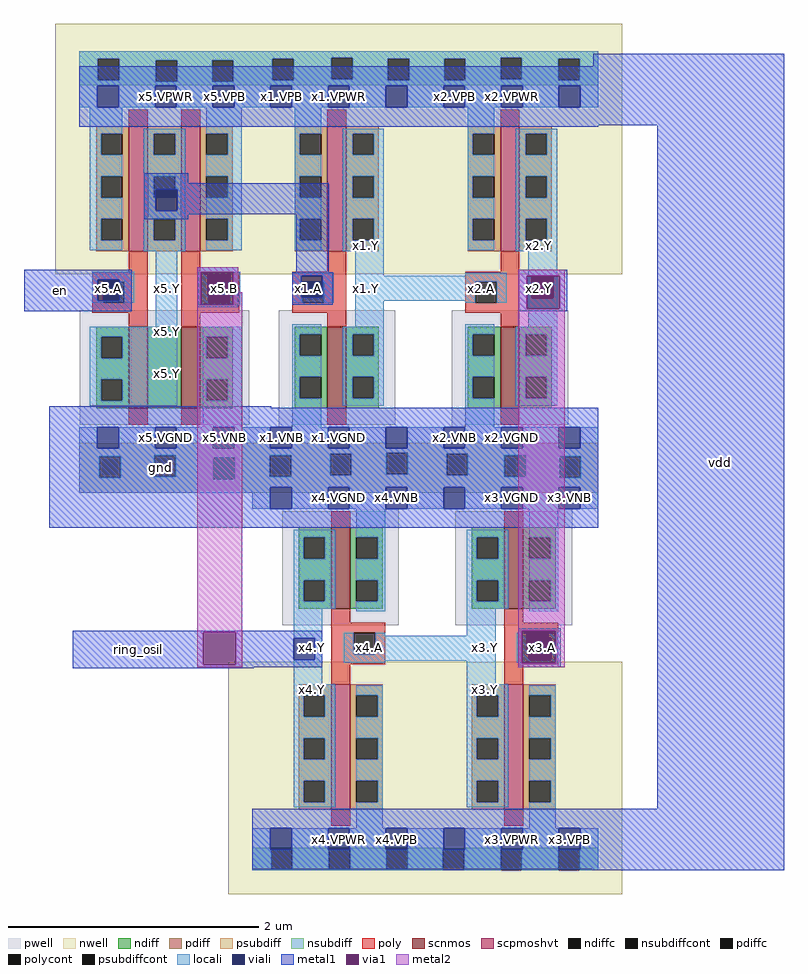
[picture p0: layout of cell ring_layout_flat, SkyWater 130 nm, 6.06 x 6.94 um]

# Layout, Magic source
magic
tech sky130A
magscale 1 2
<< nwell >>
rect 116 1595 1020 1994
rect 392 606 1020 977
<< pwell >>
rect 155 1355 425 1537
rect 472 1355 658 1537
rect 748 1355 934 1537
rect 368 1317 402 1355
rect 472 1351 493 1355
rect 748 1351 769 1355
rect 459 1317 493 1351
rect 735 1317 769 1351
rect 643 1221 677 1255
rect 919 1221 953 1255
rect 643 1217 664 1221
rect 919 1217 940 1221
rect 478 1035 664 1217
rect 754 1035 940 1217
<< scnmos >>
rect 233 1381 263 1511
rect 317 1381 347 1511
rect 550 1381 580 1511
rect 826 1381 856 1511
rect 556 1061 586 1191
rect 832 1061 862 1191
<< scpmoshvt >>
rect 233 1631 263 1831
rect 317 1631 347 1831
rect 550 1631 580 1831
rect 826 1631 856 1831
rect 556 741 586 941
rect 832 741 862 941
<< ndiff >>
rect 181 1495 233 1511
rect 181 1461 189 1495
rect 223 1461 233 1495
rect 181 1427 233 1461
rect 181 1393 189 1427
rect 223 1393 233 1427
rect 181 1381 233 1393
rect 263 1381 317 1511
rect 347 1495 399 1511
rect 347 1461 357 1495
rect 391 1461 399 1495
rect 347 1427 399 1461
rect 347 1393 357 1427
rect 391 1393 399 1427
rect 347 1381 399 1393
rect 498 1499 550 1511
rect 498 1465 506 1499
rect 540 1465 550 1499
rect 498 1431 550 1465
rect 498 1397 506 1431
rect 540 1397 550 1431
rect 498 1381 550 1397
rect 580 1499 632 1511
rect 580 1465 590 1499
rect 624 1465 632 1499
rect 580 1431 632 1465
rect 580 1397 590 1431
rect 624 1397 632 1431
rect 580 1381 632 1397
rect 774 1499 826 1511
rect 774 1465 782 1499
rect 816 1465 826 1499
rect 774 1431 826 1465
rect 774 1397 782 1431
rect 816 1397 826 1431
rect 774 1381 826 1397
rect 856 1499 908 1511
rect 856 1465 866 1499
rect 900 1465 908 1499
rect 856 1431 908 1465
rect 856 1397 866 1431
rect 900 1397 908 1431
rect 856 1381 908 1397
rect 504 1175 556 1191
rect 504 1141 512 1175
rect 546 1141 556 1175
rect 504 1107 556 1141
rect 504 1073 512 1107
rect 546 1073 556 1107
rect 504 1061 556 1073
rect 586 1175 638 1191
rect 586 1141 596 1175
rect 630 1141 638 1175
rect 586 1107 638 1141
rect 586 1073 596 1107
rect 630 1073 638 1107
rect 586 1061 638 1073
rect 780 1175 832 1191
rect 780 1141 788 1175
rect 822 1141 832 1175
rect 780 1107 832 1141
rect 780 1073 788 1107
rect 822 1073 832 1107
rect 780 1061 832 1073
rect 862 1175 914 1191
rect 862 1141 872 1175
rect 906 1141 914 1175
rect 862 1107 914 1141
rect 862 1073 872 1107
rect 906 1073 914 1107
rect 862 1061 914 1073
<< pdiff >>
rect 181 1819 233 1831
rect 181 1785 189 1819
rect 223 1785 233 1819
rect 181 1751 233 1785
rect 181 1717 189 1751
rect 223 1717 233 1751
rect 181 1683 233 1717
rect 181 1649 189 1683
rect 223 1649 233 1683
rect 181 1631 233 1649
rect 263 1819 317 1831
rect 263 1785 273 1819
rect 307 1785 317 1819
rect 263 1751 317 1785
rect 263 1717 273 1751
rect 307 1717 317 1751
rect 263 1683 317 1717
rect 263 1649 273 1683
rect 307 1649 317 1683
rect 263 1631 317 1649
rect 347 1819 399 1831
rect 347 1785 357 1819
rect 391 1785 399 1819
rect 347 1751 399 1785
rect 347 1717 357 1751
rect 391 1717 399 1751
rect 347 1683 399 1717
rect 347 1649 357 1683
rect 391 1649 399 1683
rect 347 1631 399 1649
rect 498 1819 550 1831
rect 498 1785 506 1819
rect 540 1785 550 1819
rect 498 1751 550 1785
rect 498 1717 506 1751
rect 540 1717 550 1751
rect 498 1683 550 1717
rect 498 1649 506 1683
rect 540 1649 550 1683
rect 498 1631 550 1649
rect 580 1819 632 1831
rect 580 1785 590 1819
rect 624 1785 632 1819
rect 580 1751 632 1785
rect 580 1717 590 1751
rect 624 1717 632 1751
rect 580 1683 632 1717
rect 580 1649 590 1683
rect 624 1649 632 1683
rect 580 1631 632 1649
rect 774 1819 826 1831
rect 774 1785 782 1819
rect 816 1785 826 1819
rect 774 1751 826 1785
rect 774 1717 782 1751
rect 816 1717 826 1751
rect 774 1683 826 1717
rect 774 1649 782 1683
rect 816 1649 826 1683
rect 774 1631 826 1649
rect 856 1819 908 1831
rect 856 1785 866 1819
rect 900 1785 908 1819
rect 856 1751 908 1785
rect 856 1717 866 1751
rect 900 1717 908 1751
rect 856 1683 908 1717
rect 856 1649 866 1683
rect 900 1649 908 1683
rect 856 1631 908 1649
rect 504 923 556 941
rect 504 889 512 923
rect 546 889 556 923
rect 504 855 556 889
rect 504 821 512 855
rect 546 821 556 855
rect 504 787 556 821
rect 504 753 512 787
rect 546 753 556 787
rect 504 741 556 753
rect 586 923 638 941
rect 586 889 596 923
rect 630 889 638 923
rect 586 855 638 889
rect 586 821 596 855
rect 630 821 638 855
rect 586 787 638 821
rect 586 753 596 787
rect 630 753 638 787
rect 586 741 638 753
rect 780 923 832 941
rect 780 889 788 923
rect 822 889 832 923
rect 780 855 832 889
rect 780 821 788 855
rect 822 821 832 855
rect 780 787 832 821
rect 780 753 788 787
rect 822 753 832 787
rect 780 741 832 753
rect 862 923 914 941
rect 862 889 872 923
rect 906 889 914 923
rect 862 855 914 889
rect 862 821 872 855
rect 906 821 914 855
rect 862 787 914 821
rect 862 753 872 787
rect 906 753 914 787
rect 862 741 914 753
<< ndiffc >>
rect 189 1461 223 1495
rect 189 1393 223 1427
rect 357 1461 391 1495
rect 357 1393 391 1427
rect 506 1465 540 1499
rect 506 1397 540 1431
rect 590 1465 624 1499
rect 590 1397 624 1431
rect 782 1465 816 1499
rect 782 1397 816 1431
rect 866 1465 900 1499
rect 866 1397 900 1431
rect 512 1141 546 1175
rect 512 1073 546 1107
rect 596 1141 630 1175
rect 596 1073 630 1107
rect 788 1141 822 1175
rect 788 1073 822 1107
rect 872 1141 906 1175
rect 872 1073 906 1107
<< pdiffc >>
rect 189 1785 223 1819
rect 189 1717 223 1751
rect 189 1649 223 1683
rect 273 1785 307 1819
rect 273 1717 307 1751
rect 273 1649 307 1683
rect 357 1785 391 1819
rect 357 1717 391 1751
rect 357 1649 391 1683
rect 506 1785 540 1819
rect 506 1717 540 1751
rect 506 1649 540 1683
rect 590 1785 624 1819
rect 590 1717 624 1751
rect 590 1649 624 1683
rect 782 1785 816 1819
rect 782 1717 816 1751
rect 782 1649 816 1683
rect 866 1785 900 1819
rect 866 1717 900 1751
rect 866 1649 900 1683
rect 512 889 546 923
rect 512 821 546 855
rect 512 753 546 787
rect 596 889 630 923
rect 596 821 630 855
rect 596 753 630 787
rect 788 889 822 923
rect 788 821 822 855
rect 788 753 822 787
rect 872 889 906 923
rect 872 821 906 855
rect 872 753 906 787
<< psubdiff >>
rect 154 1310 982 1326
rect 154 1308 644 1310
rect 154 1306 554 1308
rect 154 1304 274 1306
rect 154 1270 186 1304
rect 220 1272 274 1304
rect 308 1302 458 1306
rect 308 1272 368 1302
rect 220 1270 368 1272
rect 154 1268 368 1270
rect 402 1272 458 1302
rect 492 1274 554 1306
rect 588 1276 644 1308
rect 678 1308 982 1310
rect 678 1276 740 1308
rect 588 1274 740 1276
rect 774 1306 982 1308
rect 774 1274 832 1306
rect 492 1272 832 1274
rect 866 1304 982 1306
rect 866 1272 920 1304
rect 402 1270 920 1272
rect 954 1270 982 1304
rect 402 1268 982 1270
rect 154 1246 982 1268
<< nsubdiff >>
rect 154 1940 982 1950
rect 154 1938 556 1940
rect 154 1904 184 1938
rect 218 1936 462 1938
rect 218 1904 276 1936
rect 154 1902 276 1904
rect 310 1902 366 1936
rect 400 1904 462 1936
rect 496 1906 556 1938
rect 590 1938 826 1940
rect 590 1906 646 1938
rect 496 1904 646 1906
rect 680 1904 736 1938
rect 770 1906 826 1938
rect 860 1938 982 1940
rect 860 1906 918 1938
rect 770 1904 918 1906
rect 952 1904 982 1938
rect 400 1902 982 1904
rect 154 1896 982 1902
rect 430 646 460 680
rect 494 646 552 680
rect 586 646 644 680
rect 678 678 982 680
rect 678 646 734 678
rect 430 644 734 646
rect 768 644 826 678
rect 860 644 918 678
rect 952 644 982 678
<< psubdiffcont >>
rect 186 1270 220 1304
rect 274 1272 308 1306
rect 368 1268 402 1302
rect 458 1272 492 1306
rect 554 1274 588 1308
rect 644 1276 678 1310
rect 740 1274 774 1308
rect 832 1272 866 1306
rect 920 1270 954 1304
<< nsubdiffcont >>
rect 184 1904 218 1938
rect 276 1902 310 1936
rect 366 1902 400 1936
rect 462 1904 496 1938
rect 556 1906 590 1940
rect 646 1904 680 1938
rect 736 1904 770 1938
rect 826 1906 860 1940
rect 918 1904 952 1938
rect 460 646 494 680
rect 552 646 586 680
rect 644 646 678 680
rect 734 644 768 678
rect 826 644 860 678
rect 918 644 952 678
<< poly >>
rect 233 1831 263 1857
rect 317 1831 347 1857
rect 550 1831 580 1857
rect 826 1831 856 1857
rect 233 1599 263 1631
rect 175 1583 263 1599
rect 175 1549 192 1583
rect 226 1549 263 1583
rect 175 1533 263 1549
rect 233 1511 263 1533
rect 317 1599 347 1631
rect 550 1599 580 1631
rect 826 1599 856 1631
rect 317 1583 409 1599
rect 317 1549 360 1583
rect 394 1549 409 1583
rect 317 1533 409 1549
rect 494 1583 580 1599
rect 494 1549 510 1583
rect 544 1549 580 1583
rect 494 1533 580 1549
rect 770 1583 856 1599
rect 770 1549 786 1583
rect 820 1549 856 1583
rect 770 1533 856 1549
rect 317 1511 347 1533
rect 550 1511 580 1533
rect 826 1511 856 1533
rect 233 1355 263 1381
rect 317 1355 347 1381
rect 550 1355 580 1381
rect 826 1355 856 1381
rect 556 1191 586 1217
rect 832 1191 862 1217
rect 556 1039 586 1061
rect 832 1039 862 1061
rect 556 1023 642 1039
rect 556 989 592 1023
rect 626 989 642 1023
rect 556 973 642 989
rect 832 1023 918 1039
rect 832 989 868 1023
rect 902 989 918 1023
rect 832 973 918 989
rect 556 941 586 973
rect 832 941 862 973
rect 556 715 586 741
rect 832 715 862 741
<< polycont >>
rect 192 1549 226 1583
rect 360 1549 394 1583
rect 510 1549 544 1583
rect 786 1549 820 1583
rect 592 989 626 1023
rect 868 989 902 1023
<< locali >>
rect 154 1940 982 1950
rect 154 1938 556 1940
rect 154 1904 184 1938
rect 218 1936 462 1938
rect 218 1904 276 1936
rect 154 1902 276 1904
rect 310 1902 366 1936
rect 400 1904 462 1936
rect 496 1906 556 1938
rect 590 1938 826 1940
rect 590 1906 646 1938
rect 496 1904 646 1906
rect 680 1904 736 1938
rect 770 1906 826 1938
rect 860 1938 982 1940
rect 860 1906 918 1938
rect 770 1904 918 1906
rect 952 1904 982 1938
rect 400 1902 982 1904
rect 154 1895 982 1902
rect 154 1861 183 1895
rect 217 1861 275 1895
rect 309 1861 367 1895
rect 401 1861 459 1895
rect 493 1861 551 1895
rect 585 1861 643 1895
rect 677 1861 735 1895
rect 769 1861 827 1895
rect 861 1861 919 1895
rect 953 1861 982 1895
rect 171 1819 223 1861
rect 171 1785 189 1819
rect 171 1751 223 1785
rect 171 1717 189 1751
rect 171 1683 223 1717
rect 171 1649 189 1683
rect 171 1633 223 1649
rect 257 1819 323 1827
rect 257 1785 273 1819
rect 307 1785 323 1819
rect 257 1751 323 1785
rect 257 1717 273 1751
rect 307 1730 323 1751
rect 257 1696 276 1717
rect 310 1696 323 1730
rect 257 1683 323 1696
rect 257 1649 273 1683
rect 307 1649 323 1683
rect 257 1631 323 1649
rect 357 1819 413 1861
rect 391 1785 413 1819
rect 357 1751 413 1785
rect 391 1717 413 1751
rect 357 1683 413 1717
rect 391 1649 413 1683
rect 357 1633 413 1649
rect 498 1819 540 1861
rect 498 1785 506 1819
rect 498 1751 540 1785
rect 498 1717 506 1751
rect 498 1683 540 1717
rect 498 1649 506 1683
rect 498 1633 540 1649
rect 574 1819 640 1827
rect 574 1785 590 1819
rect 624 1785 640 1819
rect 574 1751 640 1785
rect 574 1717 590 1751
rect 624 1717 640 1751
rect 574 1683 640 1717
rect 574 1649 590 1683
rect 624 1649 640 1683
rect 574 1631 640 1649
rect 774 1819 816 1861
rect 774 1785 782 1819
rect 774 1751 816 1785
rect 774 1717 782 1751
rect 774 1683 816 1717
rect 774 1649 782 1683
rect 774 1633 816 1649
rect 850 1819 916 1827
rect 850 1785 866 1819
rect 900 1785 916 1819
rect 850 1751 916 1785
rect 850 1717 866 1751
rect 900 1717 916 1751
rect 850 1683 916 1717
rect 850 1649 866 1683
rect 900 1649 916 1683
rect 850 1631 916 1649
rect 175 1586 242 1599
rect 175 1552 184 1586
rect 218 1583 242 1586
rect 175 1549 192 1552
rect 226 1549 242 1583
rect 276 1511 310 1631
rect 344 1594 411 1599
rect 344 1549 360 1594
rect 394 1549 411 1594
rect 494 1592 560 1597
rect 494 1558 508 1592
rect 542 1583 560 1592
rect 494 1549 510 1558
rect 544 1549 560 1583
rect 594 1592 640 1631
rect 770 1592 836 1597
rect 594 1583 836 1592
rect 594 1552 786 1583
rect 344 1545 411 1549
rect 171 1495 310 1511
rect 171 1461 189 1495
rect 223 1461 310 1495
rect 171 1427 310 1461
rect 171 1393 189 1427
rect 223 1393 310 1427
rect 171 1385 310 1393
rect 351 1495 413 1511
rect 351 1461 357 1495
rect 391 1461 413 1495
rect 351 1427 413 1461
rect 351 1393 357 1427
rect 391 1393 413 1427
rect 351 1351 413 1393
rect 494 1499 540 1515
rect 594 1511 640 1552
rect 770 1549 786 1552
rect 820 1549 836 1583
rect 870 1590 916 1631
rect 870 1556 876 1590
rect 910 1556 916 1590
rect 494 1465 506 1499
rect 494 1431 540 1465
rect 494 1397 506 1431
rect 494 1351 540 1397
rect 574 1499 640 1511
rect 574 1465 590 1499
rect 624 1465 640 1499
rect 574 1431 640 1465
rect 574 1397 590 1431
rect 624 1397 640 1431
rect 574 1385 640 1397
rect 770 1499 816 1515
rect 870 1511 916 1556
rect 770 1465 782 1499
rect 770 1431 816 1465
rect 770 1397 782 1431
rect 770 1351 816 1397
rect 850 1499 916 1511
rect 850 1465 866 1499
rect 900 1465 916 1499
rect 850 1431 916 1465
rect 850 1397 866 1431
rect 900 1397 916 1431
rect 850 1385 916 1397
rect 154 1317 183 1351
rect 217 1317 275 1351
rect 309 1317 367 1351
rect 401 1317 459 1351
rect 493 1317 551 1351
rect 585 1317 643 1351
rect 677 1317 735 1351
rect 769 1317 827 1351
rect 861 1317 919 1351
rect 953 1317 982 1351
rect 154 1310 982 1317
rect 154 1308 644 1310
rect 154 1306 554 1308
rect 154 1304 274 1306
rect 154 1270 186 1304
rect 220 1272 274 1304
rect 308 1302 458 1306
rect 308 1272 368 1302
rect 220 1270 368 1272
rect 154 1268 368 1270
rect 402 1272 458 1302
rect 492 1274 554 1306
rect 588 1276 644 1308
rect 678 1308 982 1310
rect 678 1276 740 1308
rect 588 1274 740 1276
rect 774 1306 982 1308
rect 774 1274 832 1306
rect 492 1272 832 1274
rect 866 1304 982 1306
rect 866 1272 920 1304
rect 402 1270 920 1272
rect 954 1270 982 1304
rect 402 1268 982 1270
rect 154 1255 982 1268
rect 154 1246 459 1255
rect 430 1221 459 1246
rect 493 1221 551 1255
rect 585 1221 643 1255
rect 677 1221 735 1255
rect 769 1221 827 1255
rect 861 1221 919 1255
rect 953 1221 982 1255
rect 496 1175 562 1187
rect 496 1141 512 1175
rect 546 1141 562 1175
rect 496 1107 562 1141
rect 496 1073 512 1107
rect 546 1073 562 1107
rect 496 1061 562 1073
rect 596 1175 642 1221
rect 630 1141 642 1175
rect 596 1107 642 1141
rect 630 1073 642 1107
rect 496 1014 542 1061
rect 596 1057 642 1073
rect 772 1175 838 1187
rect 772 1141 788 1175
rect 822 1141 838 1175
rect 772 1107 838 1141
rect 772 1073 788 1107
rect 822 1073 838 1107
rect 772 1061 838 1073
rect 872 1175 918 1221
rect 906 1141 918 1175
rect 872 1107 918 1141
rect 906 1073 918 1107
rect 530 980 542 1014
rect 496 941 542 980
rect 576 989 592 1023
rect 626 1018 642 1023
rect 772 1018 818 1061
rect 872 1057 918 1073
rect 626 989 818 1018
rect 576 978 818 989
rect 576 975 642 978
rect 772 941 818 978
rect 852 989 868 1023
rect 902 1014 918 1023
rect 852 980 872 989
rect 906 980 918 1014
rect 852 975 918 980
rect 496 923 562 941
rect 496 889 512 923
rect 546 889 562 923
rect 496 855 562 889
rect 496 821 512 855
rect 546 821 562 855
rect 496 787 562 821
rect 496 753 512 787
rect 546 753 562 787
rect 496 745 562 753
rect 596 923 638 939
rect 630 889 638 923
rect 596 855 638 889
rect 630 821 638 855
rect 596 787 638 821
rect 630 753 638 787
rect 596 711 638 753
rect 772 923 838 941
rect 772 889 788 923
rect 822 889 838 923
rect 772 855 838 889
rect 772 821 788 855
rect 822 821 838 855
rect 772 787 838 821
rect 772 753 788 787
rect 822 753 838 787
rect 772 745 838 753
rect 872 923 914 939
rect 906 889 914 923
rect 872 855 914 889
rect 906 821 914 855
rect 872 787 914 821
rect 906 753 914 787
rect 872 711 914 753
rect 430 677 459 711
rect 493 680 551 711
rect 585 680 643 711
rect 677 680 735 711
rect 494 677 551 680
rect 586 677 643 680
rect 678 678 735 680
rect 769 678 827 711
rect 861 678 919 711
rect 430 646 460 677
rect 494 646 552 677
rect 586 646 644 677
rect 678 646 734 678
rect 769 677 826 678
rect 861 677 918 678
rect 953 677 982 711
rect 430 644 734 646
rect 768 644 826 677
rect 860 644 918 677
rect 952 644 982 677
<< viali >>
rect 183 1861 217 1895
rect 275 1861 309 1895
rect 367 1861 401 1895
rect 459 1861 493 1895
rect 551 1861 585 1895
rect 643 1861 677 1895
rect 735 1861 769 1895
rect 827 1861 861 1895
rect 919 1861 953 1895
rect 276 1717 307 1730
rect 307 1717 310 1730
rect 276 1696 310 1717
rect 184 1583 218 1586
rect 184 1552 192 1583
rect 192 1552 218 1583
rect 360 1583 394 1594
rect 360 1560 394 1583
rect 508 1583 542 1592
rect 508 1558 510 1583
rect 510 1558 542 1583
rect 876 1556 910 1590
rect 183 1317 217 1351
rect 275 1317 309 1351
rect 367 1317 401 1351
rect 459 1317 493 1351
rect 551 1317 585 1351
rect 643 1317 677 1351
rect 735 1317 769 1351
rect 827 1317 861 1351
rect 919 1317 953 1351
rect 459 1221 493 1255
rect 551 1221 585 1255
rect 643 1221 677 1255
rect 735 1221 769 1255
rect 827 1221 861 1255
rect 919 1221 953 1255
rect 496 980 530 1014
rect 872 989 902 1014
rect 902 989 906 1014
rect 872 980 906 989
rect 459 680 493 711
rect 551 680 585 711
rect 643 680 677 711
rect 459 677 460 680
rect 460 677 493 680
rect 551 677 552 680
rect 552 677 585 680
rect 643 677 644 680
rect 644 677 677 680
rect 735 678 769 711
rect 827 678 861 711
rect 919 678 953 711
rect 735 677 768 678
rect 768 677 769 678
rect 827 677 860 678
rect 860 677 861 678
rect 919 677 952 678
rect 952 677 953 678
<< metal1 >>
rect 974 1926 1278 1946
rect 154 1895 1278 1926
rect 154 1861 183 1895
rect 217 1861 275 1895
rect 309 1861 367 1895
rect 401 1861 459 1895
rect 493 1861 551 1895
rect 585 1861 643 1895
rect 677 1861 735 1895
rect 769 1861 827 1895
rect 861 1861 919 1895
rect 953 1861 1278 1895
rect 154 1832 1278 1861
rect 154 1830 982 1832
rect 258 1740 328 1756
rect 258 1730 552 1740
rect 258 1696 276 1730
rect 310 1696 552 1730
rect 258 1690 552 1696
rect 258 1682 328 1690
rect 66 1586 238 1602
rect 66 1552 184 1586
rect 218 1552 238 1586
rect 66 1536 238 1552
rect 342 1598 408 1606
rect 500 1598 552 1690
rect 342 1546 348 1598
rect 400 1546 408 1598
rect 494 1592 558 1598
rect 494 1558 508 1592
rect 542 1558 558 1592
rect 494 1546 558 1558
rect 854 1592 932 1602
rect 342 1542 408 1546
rect 854 1540 868 1592
rect 920 1540 932 1592
rect 854 1536 932 1540
rect 106 1382 460 1384
rect 106 1351 982 1382
rect 106 1317 183 1351
rect 217 1317 275 1351
rect 309 1317 367 1351
rect 401 1317 459 1351
rect 493 1317 551 1351
rect 585 1317 643 1351
rect 677 1317 735 1351
rect 769 1317 827 1351
rect 861 1317 919 1351
rect 953 1317 982 1351
rect 106 1255 982 1317
rect 106 1221 459 1255
rect 493 1221 551 1255
rect 585 1221 643 1255
rect 677 1221 735 1255
rect 769 1221 827 1255
rect 861 1221 919 1255
rect 953 1221 982 1255
rect 106 1190 982 1221
rect 854 1026 922 1030
rect 144 1024 542 1026
rect 144 972 352 1024
rect 404 1014 542 1024
rect 404 980 496 1014
rect 530 980 542 1014
rect 404 972 542 980
rect 144 968 542 972
rect 854 974 860 1026
rect 914 974 922 1026
rect 854 968 922 974
rect 144 966 432 968
rect 1076 742 1278 1832
rect 430 711 1278 742
rect 430 677 459 711
rect 493 677 551 711
rect 585 677 643 711
rect 677 677 735 711
rect 769 677 827 711
rect 861 677 919 711
rect 953 677 1278 711
rect 430 646 1278 677
rect 734 644 768 646
rect 972 644 1278 646
<< via1 >>
rect 348 1594 400 1598
rect 348 1560 360 1594
rect 360 1560 394 1594
rect 394 1560 400 1594
rect 348 1546 400 1560
rect 868 1590 920 1592
rect 868 1556 876 1590
rect 876 1556 910 1590
rect 910 1556 920 1590
rect 868 1540 920 1556
rect 352 972 404 1024
rect 860 1014 914 1026
rect 860 980 872 1014
rect 872 980 906 1014
rect 906 980 914 1014
rect 860 974 914 980
<< metal2 >>
rect 342 1598 408 1606
rect 342 1546 348 1598
rect 400 1566 408 1598
rect 854 1592 928 1602
rect 400 1546 414 1566
rect 342 1024 414 1546
rect 342 972 352 1024
rect 404 972 414 1024
rect 342 968 414 972
rect 854 1540 868 1592
rect 920 1540 928 1592
rect 854 1026 928 1540
rect 854 974 860 1026
rect 914 974 928 1026
rect 854 968 928 974
<< labels >>
flabel metal1 144 966 352 1026 0 FreeSans 320 0 0 0 ring_osil
port 1 nsew
flabel metal1 1076 644 1278 1946 0 FreeSans 320 0 0 0 vdd
port 2 nsew
flabel metal1 66 1536 184 1602 0 FreeSans 320 0 0 0 en
port 0 nsew
flabel metal1 106 1190 460 1384 0 FreeSans 320 0 0 0 gnd
port 5 nsew
flabel locali 276 1419 310 1453 0 FreeSans 250 0 0 0 x5.Y
flabel locali 276 1487 310 1521 0 FreeSans 250 0 0 0 x5.Y
flabel locali 276 1555 310 1589 0 FreeSans 250 0 0 0 x5.Y
flabel locali 368 1555 402 1589 0 FreeSans 250 0 0 0 x5.B
flabel locali 184 1555 218 1589 0 FreeSans 250 0 0 0 x5.A
flabel nwell 368 1861 402 1895 0 FreeSans 200 0 0 0 x5.VPB
flabel pwell 368 1317 402 1351 0 FreeSans 200 0 0 0 x5.VNB
flabel metal1 368 1317 402 1351 0 FreeSans 200 0 0 0 x5.VGND
flabel metal1 368 1861 402 1895 0 FreeSans 200 0 0 0 x5.VPWR
rlabel comment 430 1334 430 1334 6 x5.nand2_1
rlabel metal1 154 1286 430 1382 1 x5.VGND
rlabel metal1 154 1830 430 1926 1 x5.VPWR
flabel locali 508 915 542 949 0 FreeSans 340 0 0 0 x4.Y
flabel locali 508 983 542 1017 0 FreeSans 340 0 0 0 x4.Y
flabel locali 600 983 634 1017 0 FreeSans 340 0 0 0 x4.A
flabel nwell 643 677 677 711 0 FreeSans 200 0 0 0 x4.VPB
flabel pwell 643 1221 677 1255 0 FreeSans 200 0 0 0 x4.VNB
flabel metal1 643 1221 677 1255 0 FreeSans 200 0 0 0 x4.VGND
flabel metal1 643 677 677 711 0 FreeSans 200 0 0 0 x4.VPWR
rlabel comment 706 1238 706 1238 8 x4.inv_1
rlabel metal1 430 1190 706 1286 5 x4.VGND
rlabel metal1 430 646 706 742 5 x4.VPWR
flabel locali 784 915 818 949 0 FreeSans 340 0 0 0 x3.Y
flabel locali 784 983 818 1017 0 FreeSans 340 0 0 0 x3.Y
flabel locali 876 983 910 1017 0 FreeSans 340 0 0 0 x3.A
flabel nwell 919 677 953 711 0 FreeSans 200 0 0 0 x3.VPB
flabel pwell 919 1221 953 1255 0 FreeSans 200 0 0 0 x3.VNB
flabel metal1 919 1221 953 1255 0 FreeSans 200 0 0 0 x3.VGND
flabel metal1 919 677 953 711 0 FreeSans 200 0 0 0 x3.VPWR
rlabel comment 982 1238 982 1238 8 x3.inv_1
rlabel metal1 706 1190 982 1286 5 x3.VGND
rlabel metal1 706 646 982 742 5 x3.VPWR
flabel locali 870 1623 904 1657 0 FreeSans 340 0 0 0 x2.Y
flabel locali 870 1555 904 1589 0 FreeSans 340 0 0 0 x2.Y
flabel locali 778 1555 812 1589 0 FreeSans 340 0 0 0 x2.A
flabel nwell 735 1861 769 1895 0 FreeSans 200 0 0 0 x2.VPB
flabel pwell 735 1317 769 1351 0 FreeSans 200 0 0 0 x2.VNB
flabel metal1 735 1317 769 1351 0 FreeSans 200 0 0 0 x2.VGND
flabel metal1 735 1861 769 1895 0 FreeSans 200 0 0 0 x2.VPWR
rlabel comment 706 1334 706 1334 4 x2.inv_1
rlabel metal1 706 1286 982 1382 1 x2.VGND
rlabel metal1 706 1830 982 1926 1 x2.VPWR
flabel locali 594 1623 628 1657 0 FreeSans 340 0 0 0 x1.Y
flabel locali 594 1555 628 1589 0 FreeSans 340 0 0 0 x1.Y
flabel locali 502 1555 536 1589 0 FreeSans 340 0 0 0 x1.A
flabel nwell 459 1861 493 1895 0 FreeSans 200 0 0 0 x1.VPB
flabel pwell 459 1317 493 1351 0 FreeSans 200 0 0 0 x1.VNB
flabel metal1 459 1317 493 1351 0 FreeSans 200 0 0 0 x1.VGND
flabel metal1 459 1861 493 1895 0 FreeSans 200 0 0 0 x1.VPWR
rlabel comment 430 1334 430 1334 4 x1.inv_1
rlabel metal1 430 1286 706 1382 1 x1.VGND
rlabel metal1 430 1830 706 1926 1 x1.VPWR
<< end >>
